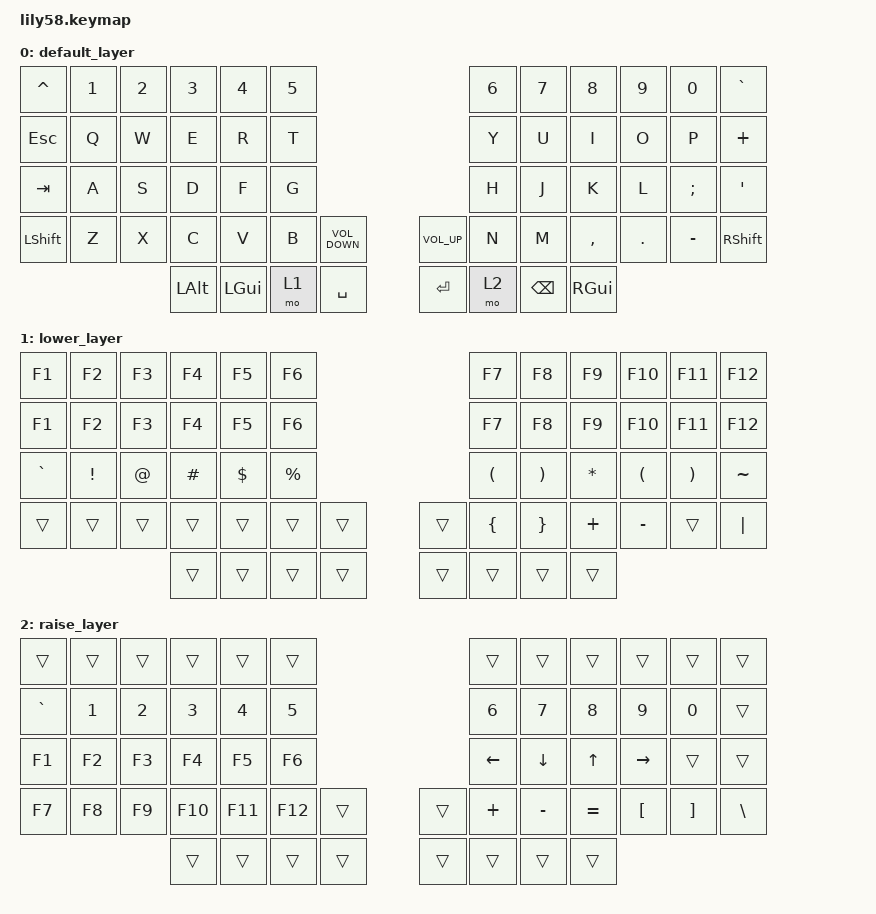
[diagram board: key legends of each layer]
/*
 * Copyright (c) 2020 The ZMK Contributors
 *
 * SPDX-License-Identifier: MIT
 */

#include <behaviors.dtsi>
#include <dt-bindings/zmk/keys.h>

/ {
    keymap {
        compatible = "zmk,keymap";

        default_layer {
            // ------------------------------------------------------------------------------------------------------------
            // |  ESC  |  1  |  2  |  3   |  4   |  5   |                   |  6   |  7    |  8    |  9   |   0   |   `   |
            // |  TAB  |  Q  |  W  |  E   |  R   |  T   |                   |  Y   |  U    |  I    |  O   |   P   |   -   |
            // |  CTRL |  A  |  S  |  D   |  F   |  G   |                   |  H   |  J    |  K    |  L   |   ;   |   '   |
            // | SHIFT |  Z  |  X  |  C   |  V   |  B   |   "["  |  |  "]"  |  N   |  M    |  ,    |  .   |   /   | SHIFT |
            //                     | ALT  | GUI  | LOWER|  SPACE |  | ENTER | RAISE| BSPC  | GUI   |

            bindings = <
&kp CARET   &kp N1  &kp N2  &kp N3    &kp N4    &kp N5                                        &kp N6  &kp N7    &kp N8     &kp N9   &kp N0     &kp GRAVE
&kp ESCAPE  &kp Q   &kp W   &kp E     &kp R     &kp T                                         &kp Y   &kp U     &kp I      &kp O    &kp P      &kp PLUS
&kp TAB     &kp A   &kp S   &kp D     &kp F     &kp G                                         &kp H   &kp J     &kp K      &kp L    &kp SEMI   &kp SQT
&kp LSHFT   &kp Z   &kp X   &kp C     &kp V     &kp B   &kp C_VOLUME_DOWN    &kp C_VOLUME_UP  &kp N   &kp M     &kp COMMA  &kp DOT  &kp MINUS  &kp RSHFT
                            &kp LALT  &kp LGUI  &mo 1   &kp SPACE            &kp RET          &mo 2   &kp BSPC  &kp RGUI
            >;
        };

        lower_layer {
            // ------------------------------------------------------------------------------------------------------------
            // | BTCLR | BT1 | BT2 |  BT3 |  BT4 |  BT5 |                   |      |       |       |      |       |       |
            // |  F1   |  F2 |  F3 |  F4  |  F5  |  F6  |                   |  F7  |  F8   |  F9   |  F10 |  F11  |  F12  |
            // |   `   |  !  |  @  |  #   |  $   |  %   |                   |  ^   |  &    |  *    |  (   |   )   |   ~   |
            // |       |     |     |      |      |      |        |  |       |      |  _    |  +    |  {   |   }   |  "|"  |
            //                     |      |      |      |        |  |       |      |       |       |

            bindings = <
&kp F1     &kp F2    &kp F3       &kp F4    &kp F5      &kp F6                       &kp F7                &kp F8    &kp F9     &kp F10    &kp F11   &kp F12
&kp F1     &kp F2    &kp F3       &kp F4    &kp F5      &kp F6                       &kp F7                &kp F8    &kp F9     &kp F10    &kp F11   &kp F12
&kp GRAVE  &kp EXCL  &kp AT_SIGN  &kp HASH  &kp DOLLAR  &kp PRCNT                    &kp LEFT_PARENTHESIS  &kp RPAR  &kp ASTRK  &kp LPAR   &kp RPAR  &kp TILDE
&trans     &trans    &trans       &trans    &trans      &trans     &trans    &trans  &kp LBRC              &kp RBRC  &kp PLUS   &kp MINUS  &trans    &kp PIPE
                                  &trans    &trans      &trans     &trans    &trans  &trans                &trans    &trans
            >;
        };

        raise_layer {
            // ------------------------------------------------------------------------------------------------------------
            // |       |     |     |      |      |      |                   |      |       |       |      |       |       |
            // |   `   |  1  |  2  |  3   |  4   |  5   |                   |  6   |   7   |   8   |  9   |   0   |       |
            // |   F1  |  F2 |  F3 |  F4  |  F5  |  F6  |                   |      |   <-  |   v   |  ^   |  ->   |       |
            // |   F7  |  F8 |  F9 |  F10 |  F11 |  F12 |        |  |       |  +   |   -   |   =   |  [   |   ]   |   \   |
            //                     |      |      |      |        |  |       |      |       |       |

            bindings = <
&trans     &trans  &trans  &trans   &trans   &trans                     &trans    &trans     &trans        &trans     &trans    &trans
&kp GRAVE  &kp N1  &kp N2  &kp N3   &kp N4   &kp N5                     &kp N6    &kp N7     &kp N8        &kp N9     &kp N0    &trans
&kp F1     &kp F2  &kp F3  &kp F4   &kp F5   &kp F6                     &kp LEFT  &kp DOWN   &kp UP_ARROW  &kp RIGHT  &trans    &trans
&kp F7     &kp F8  &kp F9  &kp F10  &kp F11  &kp F12  &trans    &trans  &kp PLUS  &kp MINUS  &kp EQUAL     &kp LBKT   &kp RBKT  &kp BSLH
                           &trans   &trans   &trans   &trans    &trans  &trans    &trans     &trans
            >;
        };
    };
};
